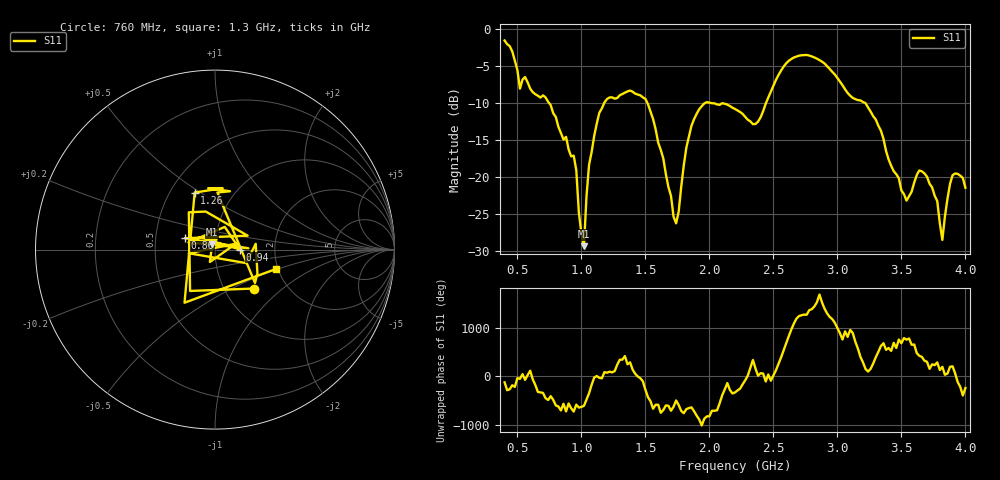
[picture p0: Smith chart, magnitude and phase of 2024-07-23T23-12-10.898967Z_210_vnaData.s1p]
!Created with skrf (http://scikit-rf.org).
# Hz S RI R 50.0
!freq ReS11 ImS11
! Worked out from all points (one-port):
!   181 points, 400 MHz to 4 GHz, reference 50 ohm
!   lowest |S11| = -29.3 dB at 1.02 GHz (marker M1), VSWR 1.07, Z = 48.4 + j2.93 ohm
!   |S11| at or under -10 dB: 1.515 GHz to 1.969 GHz (454 MHz wide, 26.1 % of centre); 2.008 GHz to 2.443 GHz (435.1 MHz wide, 19.6 % of centre); 3.214 GHz to end of sweep (the widest 3 of 4)
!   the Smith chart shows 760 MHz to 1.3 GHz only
!   S11 on the Smith chart (normalised r, x): 760 MHz: 1.37, -0.65; 860 MHz: 0.71, +0.09; 940 MHz: 1.32, +0.00; 1.26 GHz: 0.66, +0.47; 1.3 GHz: 1.95, -0.48
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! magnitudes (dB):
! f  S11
! 400 MHz  -1.6
! 520 MHz  -8.1
! 760 MHz  -10.3
! 860 MHz  -15.0
! 940 MHz  -17.1
! 1.02 GHz  -29.3
! 1.06 GHz  -18.3
! 1.1 GHz  -14.5
! 1.26 GHz  -9.4
! 1.3 GHz  -9.0
! 1.5 GHz  -9.5
! 1.64 GHz  -17.5
! 1.72 GHz  -25.4
! 1.76 GHz  -24.7
! 1.82 GHz  -16.0
! 1.9 GHz  -11.5
! 2.2 GHz  -10.8
! 2.36 GHz  -12.8
! 2.66 GHz  -3.9
! 2.88 GHz  -4.4
! 3.1 GHz  -9.0
! 3.3 GHz  -12.3
! 3.56 GHz  -22.6
! 3.7 GHz  -20.0
! 3.78 GHz  -23.2
! 3.82 GHz  -28.5
! 3.9 GHz  -19.8
! 4 GHz  -21.5
